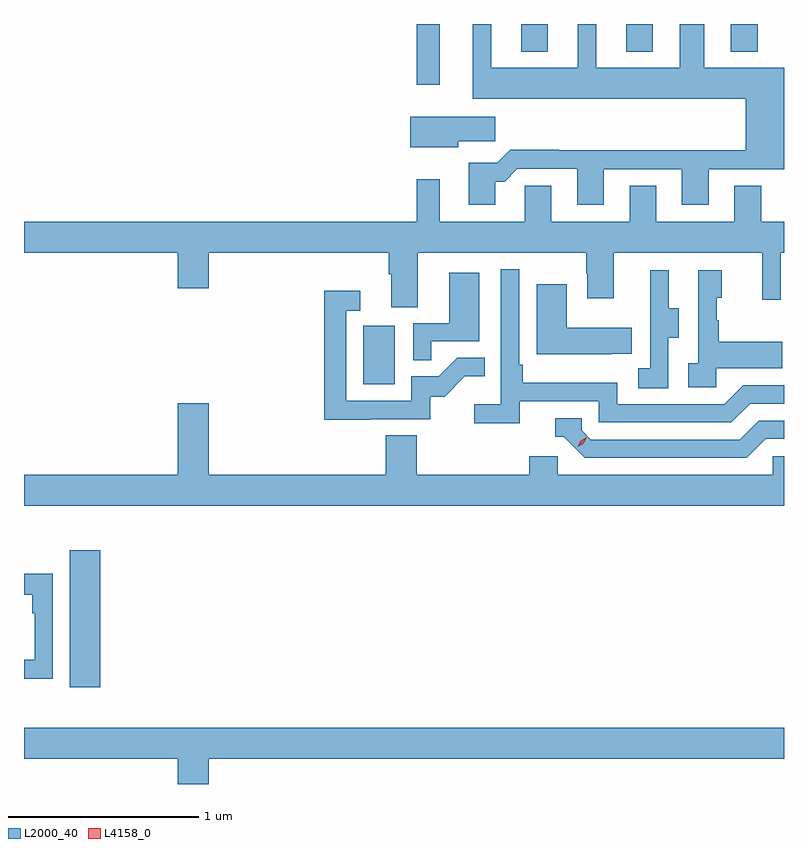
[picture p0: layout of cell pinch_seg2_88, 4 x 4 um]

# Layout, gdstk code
import gdstk
lib = gdstk.Library(unit=1e-6, precision=1e-09)
def R(c, l, rs):  # rectangles x0, y0, x1, y1
    for r in rs: c.add(gdstk.rectangle(r[:2], r[2:], *l))
def A(c, l, x, y, w, h, nx, ny, dx, dy):  # array of equal rectangles
    R(c, l, [(x+i*dx, y+j*dy, x+i*dx+w, y+j*dy+h) for i in range(nx) for j in range(ny)])
def P(c, l, *ps):  # polygons
    for p in ps: c.add(gdstk.Polygon(p, *l))
L2000_40 = (2000, 40)
L4158_0 = (4158, 0)

pinch_seg2_88 = lib.new_cell('pinch_seg2_88')
A(pinch_seg2_88, L2000_40, 1053.929, 642.035, 0.14, 0.145, 3, 1, 0.552, 0)
R(pinch_seg2_88, L2000_40, [(1051.553,638.688,1051.714,639.409), (1053.098,640.284,1053.262,640.591), (1053.378,641.859,1053.499,642.18)])
P(pinch_seg2_88, L2000_40, [(1053.793,641.351),(1053.842,641.351),(1053.909,641.418),(1054.223,641.418),(1054.223,641.229),(1054.363,641.229),(1054.363,641.415),(1054.775,641.415),(1054.775,641.229),(1054.915,641.229),(1054.915,641.415),(1055.312,641.415),(1055.312,641.95),(1054.891,641.95),(1054.891,642.18),(1054.763,642.18),(1054.763,641.95),(1054.324,641.95),(1054.324,642.18),(1054.226,642.18),(1054.226,641.95),(1053.772,641.95),(1053.772,642.18),(1053.674,642.18),(1053.674,641.786),(1055.111,641.786),(1055.111,641.516),(1054.127,641.516),(1054.127,641.519),(1053.872,641.519),(1053.802,641.449),(1053.653,641.449),(1053.653,641.229),(1053.793,641.229)],
  [(1053.598,641.563),(1053.793,641.563),(1053.793,641.692),(1053.344,641.692),(1053.344,641.531),(1053.598,641.531)],
  [(1053.385,640.976),(1054.27,640.976),(1054.27,640.865),(1054.277,640.865),(1054.277,640.737),(1054.417,640.737),(1054.417,640.976),(1055.198,640.976),(1055.198,640.728),(1055.295,640.728),(1055.295,640.976),(1055.312,640.976),(1055.312,641.14),(1055.191,641.14),(1055.191,641.33),(1055.051,641.33),(1055.051,641.14),(1054.639,641.14),(1054.639,641.33),(1054.499,641.33),(1054.499,641.14),(1054.087,641.14),(1054.087,641.33),(1053.948,641.33),(1053.948,641.14),(1053.499,641.14),(1053.499,641.362),(1053.378,641.362),(1053.378,641.14),(1051.312,641.14),(1051.312,640.976),(1052.12,640.976),(1052.12,640.788),(1052.284,640.788),(1052.284,640.976),(1053.233,640.976),(1053.233,640.864),(1053.245,640.864),(1053.245,640.69),(1053.385,640.69)],
  [(1053.92,640.194),(1054.338,640.194),(1054.338,640.083),(1055.035,640.083),(1055.134,640.182),(1055.312,640.182),(1055.312,640.278),(1055.097,640.278),(1054.998,640.179),(1054.434,640.179),(1054.434,640.291),(1053.938,640.291),(1053.938,640.387),(1053.918,640.387),(1053.918,640.888),(1053.822,640.888),(1053.822,640.18),(1053.681,640.18),(1053.681,640.078),(1053.92,640.078)],
  [(1054.956,640.367),(1055.303,640.367),(1055.303,640.507),(1054.969,640.507),(1054.969,640.622),(1054.959,640.622),(1054.959,640.74),(1054.984,640.74),(1054.984,640.885),(1054.86,640.885),(1054.86,640.394),(1054.809,640.394),(1054.809,640.269),(1054.956,640.269)],
  [(1054.704,640.528),(1054.759,640.528),(1054.759,640.683),(1054.705,640.683),(1054.705,640.885),(1054.607,640.885),(1054.607,640.671),(1054.608,640.671),(1054.608,640.367),(1054.545,640.367),(1054.545,640.264),(1054.704,640.264)],
  [(1053.455,640.509),(1053.709,640.509),(1053.709,640.87),(1053.551,640.87),(1053.551,640.605),(1053.36,640.605),(1053.36,640.411),(1053.455,640.411)],
  [(1054.403,640.445),(1054.511,640.445),(1054.511,640.582),(1054.168,640.582),(1054.168,640.81),(1054.01,640.81),(1054.01,640.442),(1054.403,640.442)],
  [(1053.131,640.101),(1053.45,640.101),(1053.45,640.218),(1053.526,640.218),(1053.633,640.325),(1053.737,640.325),(1053.737,640.424),(1053.593,640.424),(1053.495,640.326),(1053.351,640.326),(1053.351,640.197),(1053.009,640.197),(1053.009,640.671),(1053.082,640.671),(1053.082,640.777),(1052.893,640.777),(1052.893,640.096),(1053.131,640.096)],
  [(1055.312,639.906),(1055.253,639.906),(1055.253,639.808),(1054.122,639.808),(1054.122,639.906),(1053.971,639.906),(1053.971,639.808),(1053.38,639.808),(1053.38,640.016),(1053.215,640.016),(1053.215,639.808),(1052.284,639.808),(1052.284,640.183),(1052.12,640.183),(1052.12,639.808),(1051.312,639.808),(1051.312,639.644),(1055.312,639.644)],
  [(1055.215,639.996),(1055.312,639.996),(1055.312,640.092),(1055.178,640.092),(1055.079,639.993),(1054.296,639.993),(1054.248,640.041),(1054.248,640.104),(1054.109,640.104),(1054.109,640.008),(1054.152,640.008),(1054.263,639.897),(1055.116,639.897)],
  [(1051.464,639.286),(1051.312,639.286),(1051.312,639.176),(1051.355,639.176),(1051.355,639.08),(1051.368,639.08),(1051.368,638.835),(1051.312,638.835),(1051.312,638.734),(1051.464,638.734)],
  [(1052.284,638.312),(1055.312,638.312),(1055.312,638.476),(1051.312,638.476),(1051.312,638.312),(1052.12,638.312),(1052.12,638.18),(1052.284,638.18)])
P(pinch_seg2_88, L4158_0, [(1054.226,639.954),(1054.226,639.954),(1054.242,639.987),(1054.273,640.006),(1054.273,640.006),(1054.273,640.006),(1054.257,639.973),(1054.226,639.954)])

lib.write_gds('pinch_seg2_88.gds')
